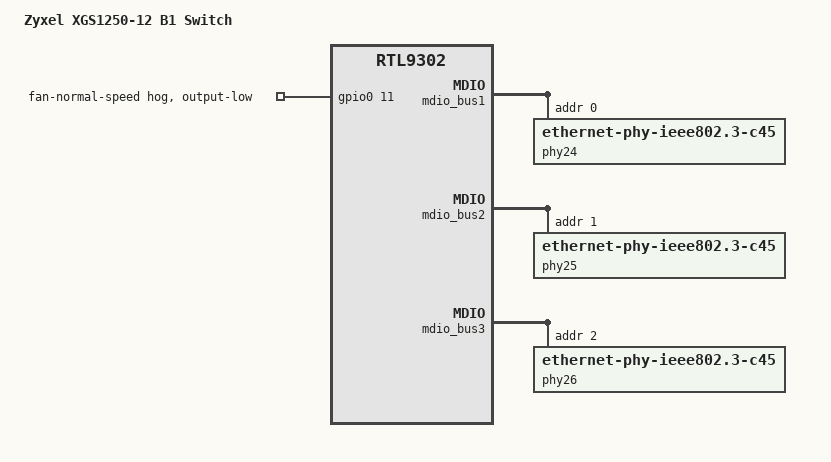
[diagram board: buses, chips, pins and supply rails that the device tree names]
// SPDX-License-Identifier: GPL-2.0-or-later
/dts-v1/;

#include "rtl9302_zyxel_xgs1250-12-common.dtsi"

/ {
	compatible = "zyxel,xgs1250-12-b1", "realtek,rtl9302-soc";
	model = "Zyxel XGS1250-12 B1 Switch";
};

&chassis_fan {
	gpios = <&gpio0 5 GPIO_ACTIVE_HIGH>;
	gpio-fan,speed-map = <0    0
			      8000 1>;
};

&gpio0 {
	fan-normal-speed-hog {
		gpio-hog;
		gpios = <11 GPIO_ACTIVE_HIGH>;
		output-low;
		line-name = "fan-normal-speed";
	};
};

&mdio_bus1 {
	phy24: ethernet-phy@0 {
		reg = <0>;
		compatible = "ethernet-phy-ieee802.3-c45";
		// Disabled because we do not know how to bring up again
		// reset-gpios = <&gpio0 21 GPIO_ACTIVE_LOW>;
		#thermal-sensor-cells = <0>;
	};
};

&mdio_bus2 {
	phy25: ethernet-phy@1 {
		reg = <1>;
		compatible = "ethernet-phy-ieee802.3-c45";
		// Disabled because we do not know how to bring up again
		// reset-gpios = <&gpio0 21 GPIO_ACTIVE_LOW>;
		#thermal-sensor-cells = <0>;
	};
};

&mdio_bus3 {
	phy26: ethernet-phy@2 {
		reg = <2>;
		compatible = "ethernet-phy-ieee802.3-c45";
		// Disabled because we do not know how to bring up again
		// reset-gpios = <&gpio0 21 GPIO_ACTIVE_LOW>;
		#thermal-sensor-cells = <0>;
	};
};
